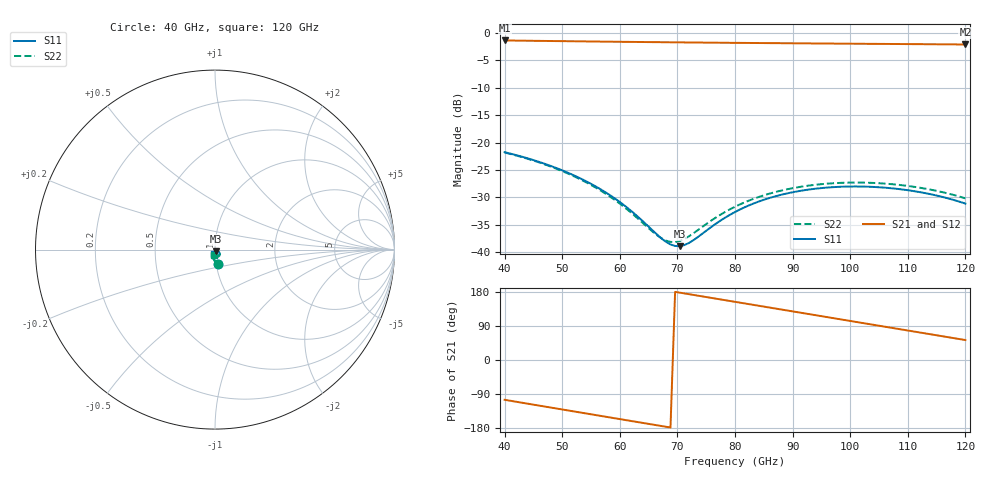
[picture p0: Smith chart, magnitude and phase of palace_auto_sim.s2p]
#  GHZ S DB R 50
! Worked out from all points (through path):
!   101 points, 40 GHz to 120 GHz, reference 50 ohm
!   highest |S21| = -1.38 dB at 40 GHz (marker M1); lowest = -2.1 dB at 120 GHz (marker M2)
!   group delay of S21, straight-line fit = 7.02 ps
!   lowest |S11| = -38.9 dB at 70.4 GHz (marker M3), VSWR 1.02, Z = 50.5 - j1.04 ohm
!   |S11| at or under -10 dB: start of sweep to end of sweep
!   |S22| runs from -38.1 to -21.8 dB; largest |S21 - S12| = 9e-14
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40  -21.76 -76.4  -1.38 -105.0  -1.38 -105.0  -21.82 -76.1
46.4  -23.67 -90.1  -1.46 -121.4  -1.46 -121.4  -23.77 -89.5
53.6  -26.77 -103.3  -1.55 -139.7  -1.55 -139.7  -26.95 -102.2
56.8  -28.60 -107.7  -1.58 -147.8  -1.58 -147.8  -28.84 -106.0
60  -30.84 -110.0  -1.62 -156.0  -1.62 -156.0  -31.14 -107.4
64  -34.34 -106.7  -1.66 -166.1  -1.66 -166.1  -34.67 -101.5
67.2  -37.45 -93.0  -1.69 -174.2  -1.69 -174.2  -37.43 -84.3
68.8  -38.58 -80.2  -1.71 -178.2  -1.71 -178.2  -38.11 -70.7
70.4  -38.89 -65.0  -1.73 177.7  -1.73 177.7  -37.95 -56.6
72  -38.31 -51.2  -1.74 173.7  -1.74 173.7  -37.09 -45.1
76.8  -34.71 -31.6  -1.78 161.6  -1.78 161.6  -33.59 -30.5
80  -32.66 -30.2  -1.81 153.5  -1.81 153.5  -31.70 -30.2
83.2  -31.12 -32.6  -1.84 145.4  -1.84 145.4  -30.26 -33.1
86.4  -29.97 -36.8  -1.86 137.4  -1.86 137.4  -29.19 -37.5
90.4  -28.98 -43.5  -1.90 127.3  -1.90 127.3  -28.24 -44.4
93.6  -28.46 -49.5  -1.92 119.2  -1.92 119.2  -27.74 -50.5
97.6  -28.09 -57.4  -1.95 109.1  -1.95 109.1  -27.38 -58.5
100.8  -28.01 -63.9  -1.97 101.1  -1.97 101.1  -27.29 -65.1
104  -28.09 -70.5  -2.00 93.0  -2.00 93.0  -27.36 -71.8
107.2  -28.33 -77.2  -2.02 84.9  -2.02 84.9  -27.58 -78.6
113.6  -29.34 -90.4  -2.06 68.8  -2.06 68.8  -28.51 -92.0
120  -31.13 -102.6  -2.11 52.6  -2.11 52.6  -30.17 -104.8
